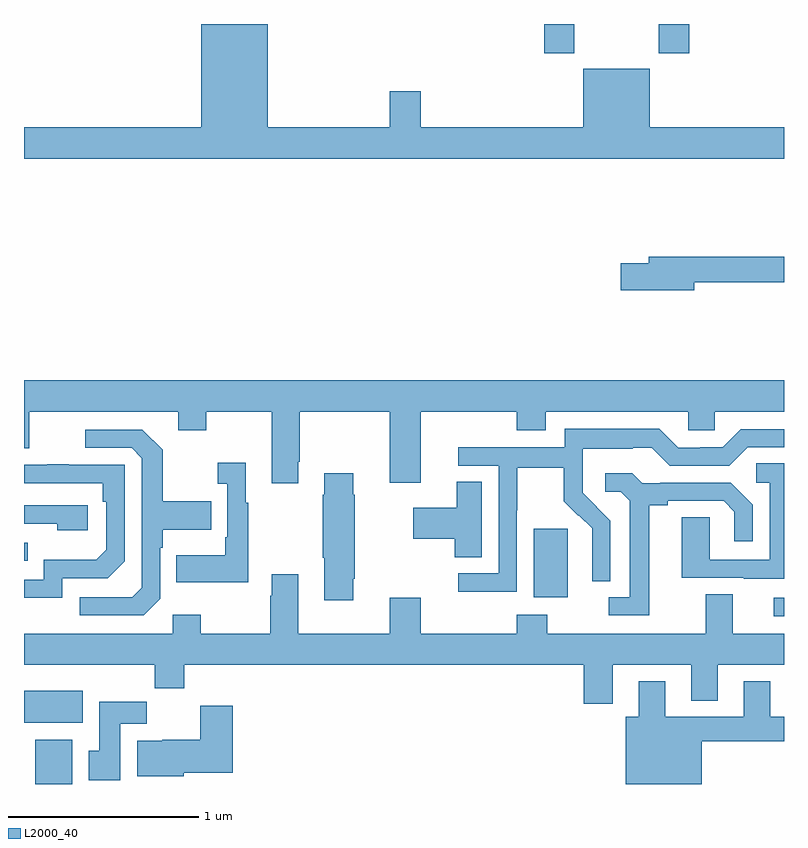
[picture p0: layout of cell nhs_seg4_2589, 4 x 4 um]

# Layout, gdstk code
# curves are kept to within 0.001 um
import gdstk
lib = gdstk.Library(unit=1e-6, precision=1e-09)
def R(c, l, rs):  # rectangles x0, y0, x1, y1
    for r in rs: c.add(gdstk.rectangle(r[:2], r[2:], *l))
def P(c, l, *ps):  # polygons
    for p in ps: c.add(gdstk.Polygon(p, *l))
L2000_40 = (2000, 40)

nhs_seg4_2589 = lib.new_cell('nhs_seg4_2589')
R(nhs_seg4_2589, L2000_40, [(247.058,754.9,247.255,755.134), (247,755.222,247.309,755.392), (250.947,755.784,251,755.88), (249.683,755.882,249.862,756.243), (247,756.075,247.019,756.171), (249.737,758.745,249.897,758.9), (250.342,758.745,250.502,758.9)])
P(nhs_seg4_2589, L2000_40, [(251,758.356),(250.294,758.356),(250.294,758.665),(249.944,758.665),(249.944,758.356),(249.088,758.356),(249.088,758.545),(248.924,758.545),(248.924,758.356),(248.284,758.356),(248.284,758.9),(247.934,758.9),(247.934,758.356),(247,758.356),(247,758.192),(251,758.192)],
  [(250.528,757.54),(251,757.54),(251,757.676),(250.289,757.676),(250.289,757.64),(250.14,757.64),(250.14,757.498),(250.528,757.498)],
  [(248.443,756.595),(248.451,756.595),(248.451,756.86),(248.924,756.86),(248.924,756.486),(249.088,756.486),(249.088,756.86),(249.593,756.86),(249.593,756.761),(249.745,756.761),(249.745,756.86),(250.497,756.86),(250.497,756.762),(250.635,756.762),(250.635,756.86),(251,756.86),(251,757.024),(247,757.024),(247,756.666),(247.027,756.666),(247.027,756.86),(247.811,756.86),(247.811,756.761),(247.959,756.761),(247.959,756.86),(248.303,756.86),(248.303,756.483),(248.443,756.483)],
  [(249.594,756.34),(249.597,756.34),(249.597,756.564),(249.841,756.564),(249.841,756.389),(249.918,756.312),(249.921,756.315),(249.992,756.245),(249.992,756.122),(249.99,756.122),(249.99,755.968),(250.086,755.968),(250.086,756.286),(249.94,756.434),(249.94,756.531),(249.942,756.531),(249.942,756.665),(250.205,756.665),(250.205,756.669),(250.305,756.669),(250.398,756.576),(250.713,756.576),(250.809,756.672),(251,756.672),(251,756.768),(250.773,756.768),(250.677,756.672),(250.559,756.672),(250.559,756.669),(250.443,756.669),(250.343,756.769),(249.846,756.769),(249.846,756.672),(249.285,756.672),(249.285,756.576),(249.498,756.576),(249.498,756.009),(249.285,756.009),(249.285,755.911),(249.594,755.911)],
  [(247.716,755.874),(247.716,756.143),(247.729,756.143),(247.729,756.239),(247.985,756.239),(247.985,756.387),(247.729,756.387),(247.729,756.659),(247.623,756.765),(247.323,756.765),(247.323,756.669),(247.566,756.669),(247.62,756.615),(247.62,755.934),(247.569,755.883),(247.293,755.883),(247.293,755.787),(247.629,755.787)],
  [(248.179,756.379),(248.167,756.379),(248.167,756.592),(248.019,756.592),(248.019,756.479),(248.07,756.479),(248.07,756.199),(248.058,756.199),(248.058,756.103),(247.801,756.103),(247.801,755.963),(248.179,755.963)],
  [(251,756.587),(250.854,756.587),(250.854,756.486),(250.926,756.486),(250.926,756.081),(250.608,756.081),(250.608,756.305),(250.463,756.305),(250.463,755.985),(250.787,755.985),(250.787,755.981),(251,755.981)],
  [(247.2,755.982),(247.44,755.982),(247.53,756.072),(247.53,756.579),(247.235,756.579),(247.235,756.584),(247.123,756.584),(247.123,756.579),(247,756.579),(247,756.483),(247.414,756.483),(247.414,756.386),(247.434,756.386),(247.434,756.132),(247.381,756.079),(247.104,756.079),(247.104,755.976),(247,755.976),(247,755.88),(247.2,755.88)],
  [(248.734,755.98),(248.742,755.98),(248.742,756.422),(248.734,756.422),(248.734,756.535),(248.579,756.535),(248.579,756.422),(248.572,756.422),(248.572,756.091),(248.579,756.091),(248.579,755.868),(248.734,755.868)],
  [(250.291,756.368),(250.387,756.368),(250.387,756.39),(250.682,756.39),(250.739,756.333),(250.739,756.177),(250.836,756.177),(250.836,756.37),(250.72,756.486),(250.348,756.486),(250.348,756.483),(250.254,756.483),(250.202,756.535),(250.059,756.535),(250.059,756.438),(250.14,756.438),(250.187,756.391),(250.187,755.883),(250.077,755.883),(250.077,755.787),(250.291,755.787)],
  [(249.409,756.491),(249.278,756.491),(249.278,756.355),(249.048,756.355),(249.048,756.19),(249.266,756.19),(249.266,756.094),(249.409,756.094)],
  [(247.336,756.366),(247,756.366),(247,756.27),(247.175,756.27),(247.175,756.236),(247.336,756.236)],
  [(250.099,755.528),(250.511,755.528),(250.511,755.339),(250.651,755.339),(250.651,755.528),(251,755.528),(251,755.692),(250.729,755.692),(250.729,755.9),(250.589,755.9),(250.589,755.692),(249.753,755.692),(249.753,755.791),(249.593,755.791),(249.593,755.692),(249.088,755.692),(249.088,755.881),(248.924,755.881),(248.924,755.692),(248.443,755.692),(248.443,756.004),(248.303,756.004),(248.303,755.891),(248.296,755.891),(248.296,755.692),(247.929,755.692),(247.929,755.791),(247.782,755.791),(247.782,755.692),(247,755.692),(247,755.528),(247.687,755.528),(247.687,755.404),(247.844,755.404),(247.844,755.528),(249.947,755.528),(249.947,755.322),(250.099,755.322)],
  [(250.567,755.126),(251,755.126),(251,755.254),(250.927,755.254),(250.927,755.44),(250.787,755.44),(250.787,755.254),(250.375,755.254),(250.375,755.44),(250.235,755.44),(250.235,755.254),(250.166,755.254),(250.166,754.9),(250.567,754.9)],
  [(247.507,755.216),(247.646,755.216),(247.646,755.334),(247.397,755.334),(247.397,755.076),(247.34,755.076),(247.34,754.92),(247.507,754.92)],
  [(247.842,754.958),(248.099,754.958),(248.099,755.311),(247.928,755.311),(247.928,755.134),(247.728,755.134),(247.728,755.128),(247.595,755.128),(247.595,754.94),(247.842,754.94)])

lib.write_gds('nhs_seg4_2589.gds')
